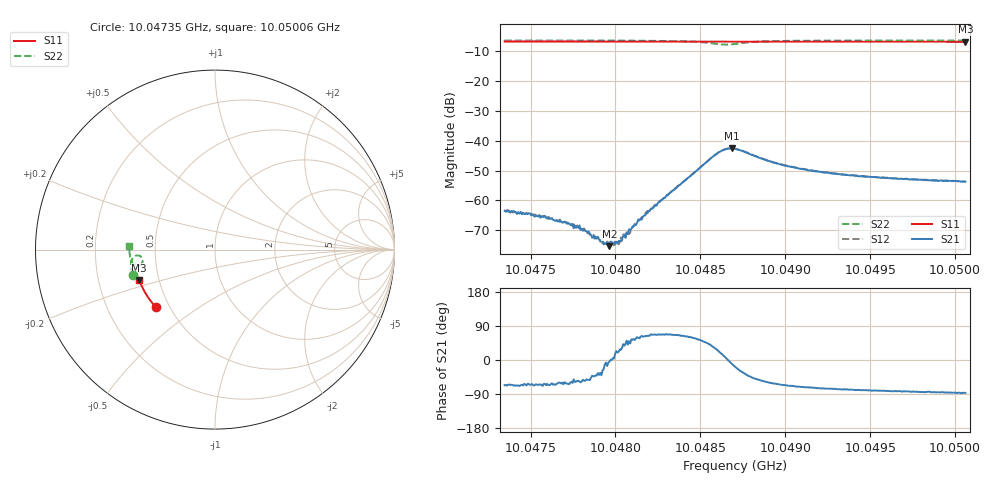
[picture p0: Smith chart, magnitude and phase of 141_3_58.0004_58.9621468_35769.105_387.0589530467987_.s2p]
#  HZ  S  RI  R  50.00
! Rohde & Schwarz Vector Network Analyzer
! Rohde-Schwarz,ZNB20-2Port,1311601062101988,3.16
! Created: UTC 3/21/2024, 12:56:38 AM
! freq[Hz]  re:S11  im:S11  re:S21  im:S21  re:S12  im:S12  re:S22  im:S22
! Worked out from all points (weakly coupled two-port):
!   401 points, 10.04735 GHz to 10.05006 GHz, reference 50 ohm
!   highest |S21| = -42.57 dB at 10.04868 GHz (marker M1); lowest = -75.3 dB at 10.04796 GHz (marker M2)
!   lowest |S11| = -6.8 dB at 10.05006 GHz (marker M3), VSWR 2.67, Z = 19.3 - j8.21 ohm
!   |S11| at or under -10 dB: nowhere
!   |S22| runs from -7.8 to -6.4 dB; largest |S21 - S12| = 0.0005
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1.0047347e10  -0.3304 -0.3206  0.000266 -0.000614  0.000291 -0.000601  -0.4573 -0.1416
1.0047571e10  -0.3401 -0.3094  0.000197 -0.000502  0.000255 -0.00048  -0.4611 -0.126
1.0047714e10  -0.3461 -0.302  0.000188 -0.000363  0.000239 -0.000359  -0.4634 -0.116
1.0047802e10  -0.3497 -0.2975  0.000187 -0.000279  0.00021 -0.00028  -0.4644 -0.1093
1.0047924e10  -0.355 -0.2912  0.000189 -0.000101  0.000175 -7.88e-05  -0.4659 -0.0997
1.0047951e10  -0.3559 -0.2896  0.00019 -5.43e-05  0.000204 -5.53e-05  -0.4663 -0.0975
1.0047965e10  -0.3567 -0.289  0.000171 -1.25e-05  0.000193 -2.95e-05  -0.4662 -0.0964
1.0047978e10  -0.357 -0.2882  0.000202 1.18e-06  0.000192 4.91e-05  -0.4664 -0.0952
1.0048026e10  -0.3588 -0.2857  0.000185 9.73e-05  0.00017 0.000106  -0.4667 -0.0912
1.004806e10  -0.3603 -0.2839  0.000173 0.00016  0.000175 0.000184  -0.4669 -0.0883
1.0048087e10  -0.3614 -0.2825  0.000226 0.000216  0.000168 0.000234  -0.4671 -0.086
1.0048114e10  -0.3624 -0.2812  0.000234 0.000309  0.000223 0.000338  -0.4671 -0.0834
1.0048175e10  -0.3648 -0.2778  0.000259 0.000496  0.000221 0.000551  -0.4671 -0.0776
1.0048256e10  -0.368 -0.2733  0.000356 0.000863  0.000316 0.000917  -0.4662 -0.0692
1.0048595e10  -0.3799 -0.2544  0.00533 0.00281  0.00513 0.00315  -0.418 -0.0359
1.0048643e10  -0.3813 -0.2519  0.00706 0.00106  0.00701 0.00148  -0.4042 -0.0523
1.0048684e10  -0.3825 -0.2498  0.00734 -0.00124  0.00745 -0.000748  -0.405 -0.072
1.0048704e10  -0.3834 -0.2489  0.00701 -0.00221  0.00713 -0.0018  -0.4102 -0.08
1.0048948e10  -0.392 -0.2351  0.00187 -0.00371  0.00212 -0.00365  -0.463 -0.0713
1.0049158e10  -0.3985 -0.223  0.00093 -0.00302  0.0011 -0.003  -0.4719 -0.049
1.0049613e10  -0.4118 -0.1959  0.00033 -0.00233  0.000459 -0.00233  -0.4766 -0.012
1.005006e10  -0.4229 -0.1686  0.000115 -0.00206  0.000234 -0.00205  -0.4764 0.0201
